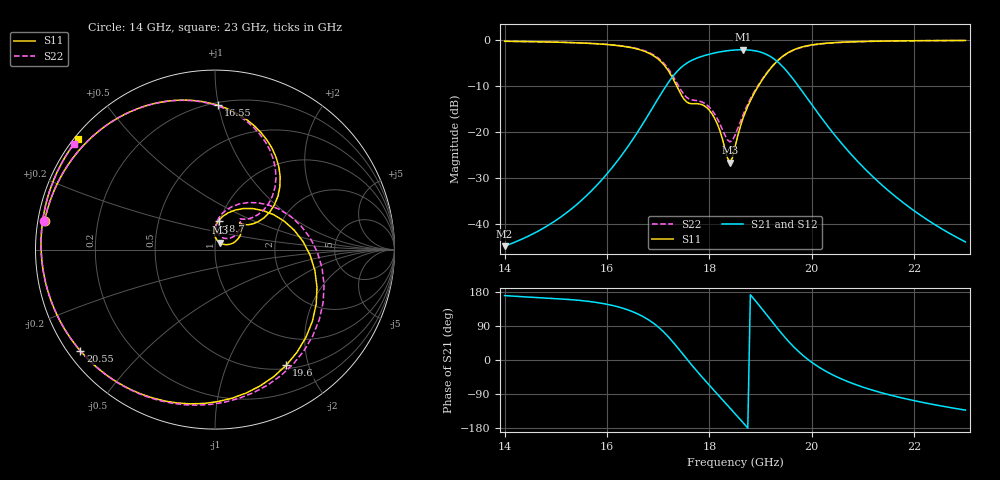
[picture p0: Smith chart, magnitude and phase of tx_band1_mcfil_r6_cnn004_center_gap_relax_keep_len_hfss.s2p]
! Touchstone file exported from HFSS 3D Layout Design 2026.1.0
!  File:  D:/Work/SIM/ADS_AUTO_SIM/projects/RFSOC_RF/TX_Fillter.aedt
!  Generated:  11:07:00 PM Aug 30, 2026
!  Design:  TX_BAND1_MCFIL_R6_CNN004
!  Project:  TX_Fillter
# GHz S MA R 50.000000
! Terminal data exported
! Port[1] = Port1
! Port[2] = Port2
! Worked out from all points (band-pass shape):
!   181 points, 14 GHz to 23 GHz, reference 50 ohm
!   highest |S21| = -2.16 dB at 18.65 GHz (marker M1); lowest = -44.8 dB at 14 GHz (marker M2)
!   |S21| within 3 dB of the highest: 17.55 GHz to 19.37 GHz (1.824 GHz wide, 9.88 % of centre)
!   lowest |S11| = -26.7 dB at 18.4 GHz (marker M3), VSWR 1.10, Z = 52.5 + j4.05 ohm
!   |S11| at or under -10 dB: 17.36 GHz to 18.96 GHz (1.598 GHz wide, 8.8 % of centre)
!   |S22| runs from -22.1 to -0.2 dB; largest |S21 - S12| = 1.6e-13
!   S11 on the Smith chart (normalised r, x): 14 GHz: 0.02, +0.08; 16.55 GHz: 0.22, +1.00; 18.7 GHz: 0.99, +0.33; 19.6 GHz: 0.55, -1.65; 20.55 GHz: 0.04, -0.33; 23 GHz: 0.01, +0.35
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14  0.963 170.3  0.005786 170.0  0.005786 170.0  0.9635 170.4
15.5  0.9221 132.9  0.01814 156.8  0.01814 156.8  0.9242 133.8
16.55  0.8037 88.7  0.0909 124.7  0.0909 124.7  0.8116 91.5
17  0.6166 56.5  0.2311 87.1  0.2311 87.1  0.6329 61.1
17.35  0.3251 32.9  0.4417 37.5  0.4417 37.5  0.3519 39.2
17.7  0.2026 47.5  0.6143 -20.5  0.6143 -20.5  0.2208 51.1
17.9  0.1923 39.7  0.6732 -51.6  0.6732 -51.6  0.2056 46.3
18.1  0.1416 24.9  0.7189 -81.5  0.7189 -81.5  0.1572 36.7
18.4  0.04649 55.9  0.7661 -126.1  0.7661 -126.1  0.07809 60.2
18.5  0.06853 88.7  0.7748 -141.2  0.7748 -141.2  0.09205 80.8
18.65  0.1371 87.9  0.7794 -164.2  0.7794 -164.2  0.1508 86.3
18.7  0.163 82.9  0.7784 -172.0  0.7784 -172.0  0.1752 83.5
18.9  0.2784 55.3  0.7576 156.0  0.7576 156.0  0.2875 62.1
19.15  0.4544 13.8  0.6784 114.0  0.6784 114.0  0.4592 23.9
19.4  0.6405 -28.3  0.5323 71.8  0.5323 71.8  0.6387 -17.9
19.6  0.757 -58.4  0.3979 41.2  0.3979 41.2  0.7512 -48.8
19.8  0.8334 -83.5  0.2827 15.2  0.2827 15.2  0.8259 -75.1
20  0.8801 -103.9  0.1979 -6.2  0.1979 -6.2  0.8725 -96.6
20.55  0.9387 -143.0  0.07902 -48.3  0.07902 -48.3  0.9333 -138.0
20.95  0.9567 -162.3  0.04463 -69.4  0.04463 -69.4  0.953 -158.3
21.5  0.97 177.8  0.02302 -91.4  0.02302 -91.4  0.9677 -179.2
23  0.9828 141.1  0.006436 -132.2  0.006436 -132.2  0.9819 143.2
